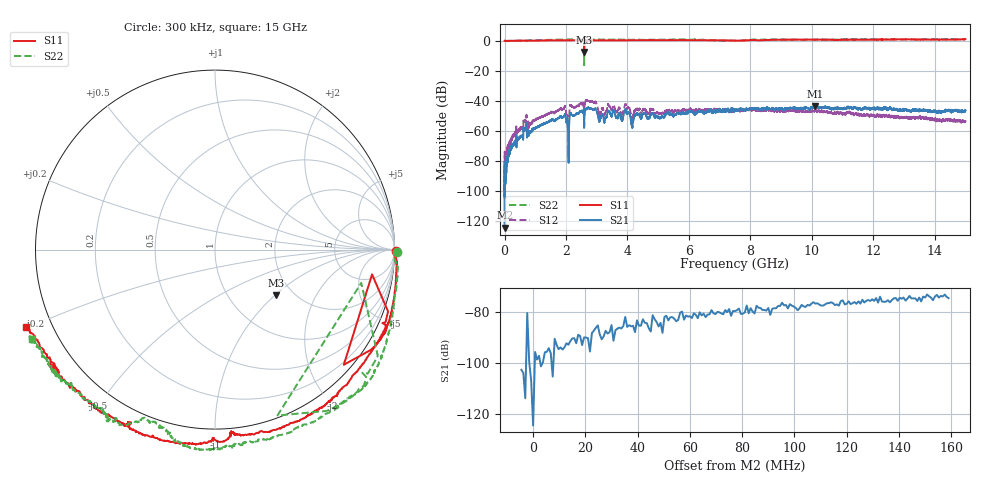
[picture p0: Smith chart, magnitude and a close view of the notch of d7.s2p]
!Agilent Technologies,N5230C,SG49000117,A.08.50.07
!Agilent N5230C: A.08.50.07
!Date: Friday, May 17, 2024 20:48:26
!Correction: S11(Full 2 Port(1,2))
!S21(Full 2 Port(1,2))
!S12(Full 2 Port(1,2))
!S22(Full 2 Port(1,2))
!S2P File: Measurements: S11, S21, S12, S22:
# Hz S  MA  R 50
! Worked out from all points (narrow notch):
!   20001 points, 300 kHz to 15 GHz, reference 50 ohm
!   highest |S21| = -43.54 dB at 10.11 GHz (marker M1); lowest = -124.6 dB at 4.8 MHz (marker M2)
!   notch at M2: 78.0 dB deep, 26.5 MHz wide at half that depth
!   lowest |S11| = -7.4 dB at 2.589 GHz (marker M3), VSWR 2.48, Z = 81.9 - j51 ohm
!   |S11| at or under -10 dB: nowhere
!   |S22| runs from -16.2 to 1.2 dB; largest |S21 - S12| = 0.0056
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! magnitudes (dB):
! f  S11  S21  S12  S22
! 300 kHz  0.1  -102.7  -83.0  0.1
! 4.8 MHz  0.0  -124.6  -93.4  0.0
! 229 MHz  0.1  -70.9  -65.8  0.1
! 646.8 MHz  0.2  -59.1  -53.5  0.3
! 1.909 GHz  0.4  -50.8  -45.4  0.9
! 2.058 GHz  0.4  -57.3  -52.2  1.0
! 2.186 GHz  0.4  -49.3  -43.7  1.0
! 2.501 GHz  0.4  -46.8  -41.6  1.0
! 2.589 GHz  -7.4  -58.0  -56.3  -11.4
! 2.91 GHz  0.4  -45.7  -40.9  0.9
! 3.261 GHz  0.3  -53.2  -48.6  0.9
! 3.404 GHz  0.4  -47.2  -43.6  0.8
! 3.821 GHz  0.4  -53.4  -50.1  0.8
! 3.984 GHz  0.4  -48.7  -45.4  0.8
! 4.156 GHz  0.5  -57.5  -54.5  0.7
! 4.326 GHz  0.5  -48.7  -45.3  0.8
! 5 GHz  0.5  -50.9  -48.2  0.8
! 7.5 GHz  0.3  -46.6  -46.5  0.2
! 10 GHz  0.9  -44.2  -46.8  0.8
! 10.11 GHz  0.9  -43.5  -46.4  0.8
! 12.5 GHz  1.0  -45.0  -49.5  1.0
! 15 GHz  1.1  -46.4  -53.7  1.1
